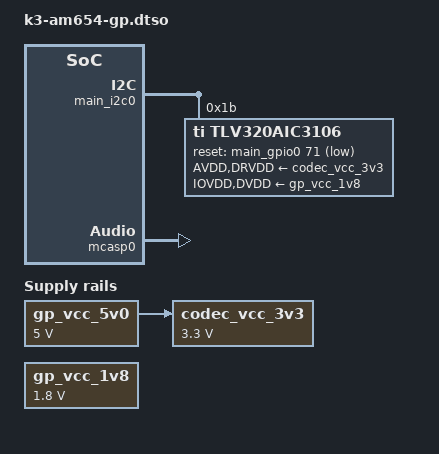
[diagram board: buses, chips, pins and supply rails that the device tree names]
// SPDX-License-Identifier: GPL-2.0
/**
 * DT overlay for GP application board on AM654 EVM
 *
 * Copyright (C) 2018 Texas Instruments Incorporated - http://www.ti.com/
 */

/dts-v1/;
/plugin/;
#include <dt-bindings/gpio/gpio.h>
#include <dt-bindings/pinctrl/k3.h>

/ {
  fragment@101 {
	target-path = "/";

	__overlay__ {
		gp_vcc_5v0: fixedregulator-gp_vcc_5v0 {
			compatible = "regulator-fixed";
			regulator-name = "gp_vcc_5v0";
			regulator-min-microvolt = <5000000>;
			regulator-max-microvolt = <5000000>;
			regulator-always-on;
			regulator-boot-on;
		};

		codec_vcc_3v3: fixedregulator-codec_vcc_3v3 {
			/* LP5912-3.3DRVT */
			compatible = "regulator-fixed";
			regulator-name = "codec_vcc_3v3";
			regulator-min-microvolt = <3300000>;
			regulator-max-microvolt = <3300000>;
			vin-supply = <&gp_vcc_5v0>;
			regulator-always-on;
			regulator-boot-on;
		};

		gp_vcc_1v8: fixedregulator-gp_vcc_1v8 {
			compatible = "regulator-fixed";
			regulator-name = "gp_vcc_1v8";
			regulator-min-microvolt = <1800000>;
			regulator-max-microvolt = <1800000>;
			regulator-always-on;
			regulator-boot-on;
		};

		sound {
			compatible = "simple-audio-card";
			simple-audio-card,name = "AM65x-GPEVM";
			simple-audio-card,widgets =
				"Headphone", "Headphone Jack",
				"Line", "Line In";
			simple-audio-card,routing =
				"Headphone Jack",	"HPLOUT",
				"Headphone Jack",	"HPROUT",
				"LINE1L",		"Line In",
				"LINE1R",		"Line In";
			simple-audio-card,format = "dsp_b";
			simple-audio-card,bitclock-master = <&sound_master>;
			simple-audio-card,frame-master = <&sound_master>;
			simple-audio-card,bitclock-inversion;

			simple-audio-card,cpu {
				sound-dai = <&mcasp0>;
			};

			sound_master: simple-audio-card,codec {
				sound-dai = <&tlv320aic3106>;
				system-clock-frequency = <12000000>;
			};
		};
	};
  };
};

&main_pmx0 {
	mcasp0_pins: mcasp0_pins {
		pinctrl-single,pins = <
			AM65X_IOPAD(0x01f4, PIN_INPUT, 5) /* (V24) PRG0_PRU0_GPO0.MCASP0_ACLKX */
			AM65X_IOPAD(0x01f8, PIN_INPUT, 5) /* (W25) PRG0_PRU0_GPO1.MCASP0_AFSX */
			AM65X_IOPAD(0x0204, PIN_OUTPUT, 5) /* (Y24) PRG0_PRU0_GPO4.MCASP0_AXR0 */
			AM65X_IOPAD(0x0208, PIN_INPUT, 5) /* (V28) PRG0_PRU0_GPO5.MCASP0_AXR1 */
		>;
	};

	aic3106_pins: aic3106_pins {
		pinctrl-single,pins = <
			AM65X_IOPAD(0x011c, PIN_OUTPUT, 7) /* (AD19) PRG1_PRU0_GPO15.GPIO0_71 */
		>;
	};
};

&main_i2c0 {
	#address-cells = <1>;
	#size-cells = <0>;
	tlv320aic3106: tlv320aic3106@1b {
		#sound-dai-cells = <0>;
		compatible = "ti,tlv320aic3106";
		reg = <0x1b>;
		status = "okay";

		pinctrl-names = "default";
		pinctrl-0 = <&aic3106_pins>;

		gpio-reset = <&main_gpio0 71 GPIO_ACTIVE_LOW>; /* gpio0_71 */

		/* Regulators */
		AVDD-supply = <&codec_vcc_3v3>;
		IOVDD-supply = <&gp_vcc_1v8>;
		DRVDD-supply = <&codec_vcc_3v3>;
		DVDD-supply = <&gp_vcc_1v8>;
	};
};

&mcasp0 {
	#sound-dai-cells = <0>;
	status = "okay";

	pinctrl-names = "default";
	pinctrl-0 = <&mcasp0_pins>;

	op-mode = <0>;          /* MCASP_IIS_MODE */
	tdm-slots = <2>;
	/* 16 serializers */
	serial-dir = <  /* 0: INACTIVE, 1: TX, 2: RX */
		1 2 0 0
		0 0 0 0
		0 0 0 0
		0 0 0 0
	>;
	tx-num-evt = <32>;
	rx-num-evt = <32>;
};
